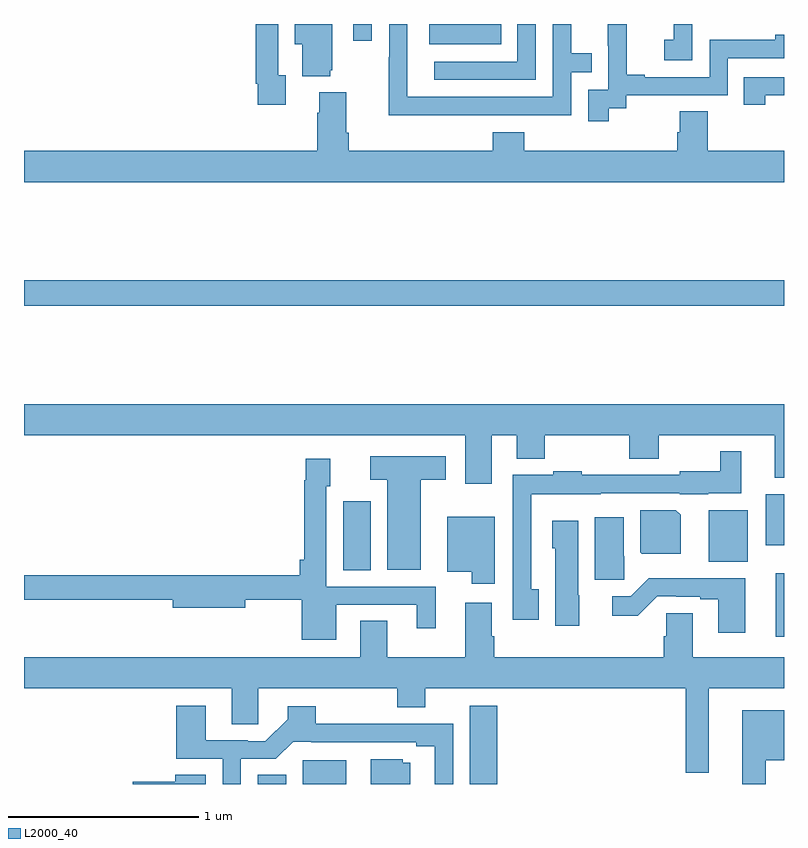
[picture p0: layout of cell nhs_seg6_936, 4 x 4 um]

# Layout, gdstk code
import gdstk
lib = gdstk.Library(unit=1e-6, precision=1e-09)
def R(c, l, rs):  # rectangles x0, y0, x1, y1
    for r in rs: c.add(gdstk.rectangle(r[:2], r[2:], *l))
def P(c, l, *ps):  # polygons
    for p in ps: c.add(gdstk.Polygon(p, *l))
L2000_40 = (2000, 40)

nhs_seg6_936 = lib.new_cell('nhs_seg6_936')
R(nhs_seg6_936, L2000_40, [(170.231,945.5,170.38,945.548), (170.468,945.5,170.695,945.625), (171.347,945.5,171.491,945.913), (172.956,946.275,173,946.609), (170.681,946.624,170.824,946.987), (172.604,946.67,172.81,946.94), (172.904,946.757,173,947.026), (169,948.016,173,948.152), (170.733,949.413,170.829,949.5)])
P(nhs_seg6_936, L2000_40, [(170.377,949.23),(170.337,949.23),(170.337,949.5),(170.221,949.5),(170.221,949.186),(170.229,949.186),(170.229,949.074),(170.377,949.074)],
  [(172.078,949.057),(172.17,949.057),(172.17,949.125),(172.704,949.125),(172.704,949.32),(173,949.32),(173,949.443),(172.953,949.443),(172.953,949.416),(172.608,949.416),(172.608,949.221),(172.267,949.221),(172.267,949.234),(172.172,949.234),(172.172,949.5),(172.073,949.5),(172.073,949.385),(172.074,949.385),(172.074,949.155),(171.969,949.155),(171.969,948.987),(172.078,948.987)],
  [(171.693,949.5),(171.597,949.5),(171.597,949.302),(171.159,949.302),(171.159,949.206),(171.693,949.206)],
  [(171.383,949.02),(171.879,949.02),(171.879,949.245),(171.989,949.245),(171.989,949.346),(171.879,949.346),(171.879,949.5),(171.783,949.5),(171.783,949.116),(171.018,949.116),(171.018,949.5),(170.922,949.5),(170.922,949.325),(170.92,949.325),(170.92,949.019),(171.383,949.019)],
  [(172.518,949.5),(172.42,949.5),(172.42,949.417),(172.371,949.417),(172.371,949.308),(172.518,949.308)],
  [(171.512,949.498),(171.255,949.498),(171.255,949.5),(171.134,949.5),(171.134,949.394),(171.512,949.394)],
  [(170.612,949.257),(170.623,949.257),(170.623,949.5),(170.426,949.5),(170.426,949.394),(170.465,949.394),(170.465,949.226),(170.612,949.226)],
  [(172.9,949.125),(173,949.125),(173,949.221),(172.789,949.221),(172.789,949.074),(172.9,949.074)],
  [(173,948.832),(172.599,948.832),(172.599,949.04),(172.451,949.04),(172.451,948.93),(172.439,948.93),(172.439,948.832),(171.632,948.832),(171.632,948.931),(171.467,948.931),(171.467,948.832),(170.708,948.832),(170.708,948.928),(170.695,948.928),(170.695,949.141),(170.555,949.141),(170.555,949.034),(170.543,949.034),(170.543,948.832),(169,948.832),(169,948.668),(173,948.668)],
  [(171.463,947.336),(171.593,947.336),(171.593,947.212),(171.741,947.212),(171.741,947.336),(172.186,947.336),(172.186,947.212),(172.341,947.212),(172.341,947.336),(172.952,947.336),(172.952,947.111),(173,947.111),(173,947.5),(169,947.5),(169,947.336),(171.323,947.336),(171.323,947.079),(171.463,947.079)],
  [(171.709,946.526),(171.669,946.526),(171.669,947.024),(172.035,947.024),(172.035,947.031),(172.452,947.031),(172.452,947.024),(172.602,947.024),(172.602,947.03),(172.775,947.03),(172.775,947.251),(172.665,947.251),(172.665,947.146),(172.452,947.146),(172.452,947.127),(171.936,947.127),(171.936,947.145),(171.786,947.145),(171.786,947.127),(171.573,947.127),(171.573,946.365),(171.709,946.365)],
  [(171.088,947.102),(171.22,947.102),(171.22,947.224),(170.823,947.224),(170.823,947.102),(170.912,947.102),(170.912,946.628),(171.088,946.628)],
  [(170.644,946.443),(171.068,946.443),(171.068,946.32),(171.166,946.32),(171.166,946.539),(170.592,946.539),(170.592,947.067),(170.611,947.067),(170.611,947.212),(170.484,947.212),(170.484,947.099),(170.476,947.099),(170.476,946.681),(170.45,946.681),(170.45,946.598),(169,946.598),(169,946.47),(169.784,946.47),(169.784,946.427),(170.164,946.427),(170.164,946.47),(170.462,946.47),(170.462,946.259),(170.644,946.259)],
  [(172.456,946.916),(172.43,946.942),(172.244,946.942),(172.244,946.72),(172.252,946.712),(172.456,946.712)],
  [(171.478,946.906),(171.227,946.906),(171.227,946.616),(171.356,946.616),(171.356,946.554),(171.478,946.554)],
  [(172.16,946.698),(172.156,946.698),(172.156,946.903),(172.004,946.903),(172.004,946.575),(172.16,946.575)],
  [(171.922,946.494),(171.916,946.494),(171.916,946.885),(171.779,946.885),(171.779,946.74),(171.797,946.74),(171.797,946.332),(171.922,946.332)],
  [(172.795,946.583),(172.289,946.583),(172.194,946.488),(172.095,946.488),(172.095,946.386),(172.23,946.386),(172.332,946.488),(172.432,946.488),(172.432,946.485),(172.559,946.485),(172.559,946.473),(172.655,946.473),(172.655,946.296),(172.795,946.296)],
  [(172.603,946.004),(173,946.004),(173,946.168),(172.519,946.168),(172.519,946.4),(172.38,946.4),(172.38,946.278),(172.367,946.278),(172.367,946.168),(171.476,946.168),(171.476,946.277),(171.463,946.277),(171.463,946.453),(171.323,946.453),(171.323,946.168),(170.911,946.168),(170.911,946.358),(170.771,946.358),(170.771,946.168),(169,946.168),(169,946.004),(170.093,946.004),(170.093,945.814),(170.232,945.814),(170.232,946.004),(170.965,946.004),(170.965,945.905),(171.112,945.905),(171.112,946.004),(172.482,946.004),(172.482,945.56),(172.603,945.56)],
  [(170.142,945.633),(170.326,945.633),(170.416,945.723),(170.512,945.723),(170.512,945.72),(171.065,945.72),(171.065,945.7),(171.162,945.7),(171.162,945.5),(171.258,945.5),(171.258,945.816),(170.876,945.816),(170.876,945.818),(170.535,945.818),(170.535,945.91),(170.387,945.91),(170.387,945.842),(170.271,945.726),(170.177,945.726),(170.177,945.729),(169.957,945.729),(169.957,945.913),(169.802,945.913),(169.802,945.633),(170.046,945.633),(170.046,945.5),(170.142,945.5)],
  [(172.903,945.626),(173,945.626),(173,945.889),(172.781,945.889),(172.781,945.5),(172.903,945.5)],
  [(171.034,945.613),(170.994,945.613),(170.994,945.631),(170.825,945.631),(170.825,945.5),(171.034,945.5)],
  [(169.957,945.548),(169.796,945.548),(169.796,945.512),(169.572,945.512),(169.572,945.5),(169.957,945.5)])

lib.write_gds('nhs_seg6_936.gds')
